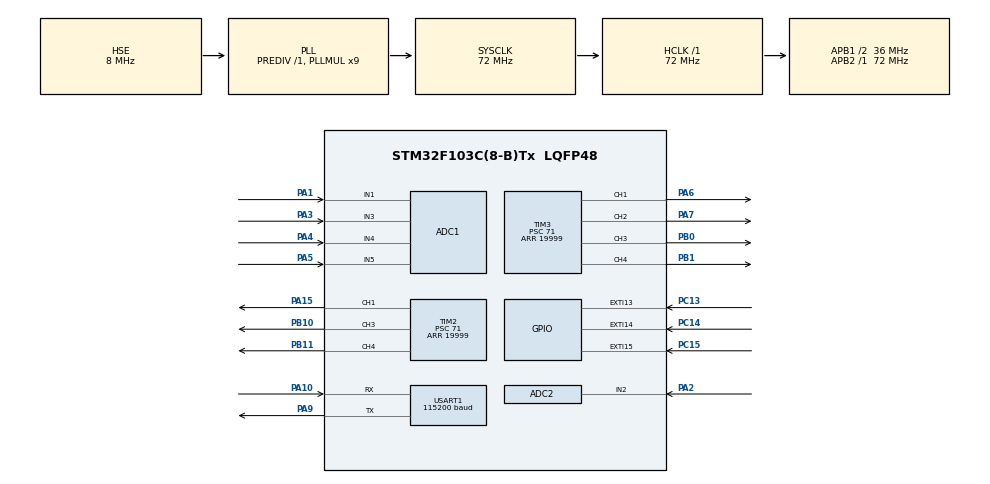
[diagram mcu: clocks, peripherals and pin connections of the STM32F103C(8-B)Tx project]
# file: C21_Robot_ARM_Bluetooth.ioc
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ADC1.Channel-1\#ChannelRegularConversion=ADC_CHANNEL_1
ADC1.Channel-2\#ChannelRegularConversion=ADC_CHANNEL_2
ADC1.Channel-3\#ChannelRegularConversion=ADC_CHANNEL_4
ADC1.Channel-4\#ChannelRegularConversion=ADC_CHANNEL_5
ADC1.ContinuousConvMode=ENABLE
ADC1.NbrOfConversion=4
ADC1.NbrOfConversionFlag=1
ADC1.Rank-1\#ChannelRegularConversion=1
ADC1.Rank-2\#ChannelRegularConversion=2
ADC1.Rank-3\#ChannelRegularConversion=3
ADC1.Rank-4\#ChannelRegularConversion=4
ADC1.SamplingTime-1\#ChannelRegularConversion=ADC_SAMPLETIME_239CYCLES_5
ADC1.SamplingTime-2\#ChannelRegularConversion=ADC_SAMPLETIME_239CYCLES_5
ADC1.SamplingTime-3\#ChannelRegularConversion=ADC_SAMPLETIME_239CYCLES_5
ADC1.SamplingTime-4\#ChannelRegularConversion=ADC_SAMPLETIME_239CYCLES_5
ADC1.master=1
ADC2.Channel-0\#ChannelRegularConversion=ADC_CHANNEL_2
ADC2.NbrOfConversionFlag=1
ADC2.Rank-0\#ChannelRegularConversion=1
ADC2.SamplingTime-0\#ChannelRegularConversion=ADC_SAMPLETIME_1CYCLE_5
Dma.ADC1.0.Direction=DMA_PERIPH_TO_MEMORY
Dma.ADC1.0.Instance=DMA1_Channel1
Dma.ADC1.0.MemDataAlignment=DMA_MDATAALIGN_HALFWORD
Dma.ADC1.0.MemInc=DMA_MINC_ENABLE
Dma.ADC1.0.Mode=DMA_CIRCULAR
Dma.ADC1.0.PeriphDataAlignment=DMA_PDATAALIGN_HALFWORD
Dma.ADC1.0.PeriphInc=DMA_PINC_DISABLE
Dma.ADC1.0.Priority=DMA_PRIORITY_LOW
Dma.Request0=ADC1
Mcu.Family=STM32F1
Mcu.Name=STM32F103C(8-B)Tx
Mcu.Package=LQFP48
NVIC.DMA1_Channel1_IRQn=true\:0\:0\:false\:false\:true\:false\:true
NVIC.EXTI15_10_IRQn=true\:0\:0\:false\:false\:true\:true\:true
NVIC.PriorityGroup=NVIC_PRIORITYGROUP_4
PA1.Signal=ADCx_IN1
PA10.Mode=Asynchronous
PA10.Signal=USART1_RX
PA13.Mode=Serial_Wire
PA13.Signal=SYS_JTMS-SWDIO
PA14.Mode=Serial_Wire
PA14.Signal=SYS_JTCK-SWCLK
PA15.Signal=S_TIM2_CH1_ETR
PA2.Signal=ADCx_IN2
PA3.Signal=ADCx_IN3
PA4.Signal=ADCx_IN4
PA5.Signal=ADCx_IN5
PA6.Signal=S_TIM3_CH1
PA7.Signal=S_TIM3_CH2
PA9.Mode=Asynchronous
PA9.Signal=USART1_TX
PB0.Signal=S_TIM3_CH3
PB1.Signal=S_TIM3_CH4
PB10.Signal=S_TIM2_CH3
PB11.Signal=S_TIM2_CH4
PC13-TAMPER-RTC.GPIO_ModeDefaultEXTI=GPIO_MODE_IT_RISING_FALLING
PC13-TAMPER-RTC.Signal=GPXTI13
PC14-OSC32_IN.GPIO_ModeDefaultEXTI=GPIO_MODE_IT_RISING_FALLING
PC14-OSC32_IN.Signal=GPXTI14
PC15-OSC32_OUT.Signal=GPXTI15
PD0-OSC_IN.Mode=HSE-External-Oscillator
PD0-OSC_IN.Signal=RCC_OSC_IN
PD1-OSC_OUT.Mode=HSE-External-Oscillator
PD1-OSC_OUT.Signal=RCC_OSC_OUT
ProjectManager.HeapSize=0x200
ProjectManager.StackSize=0x400
ProjectManager.TargetToolchain=STM32CubeIDE
RCC.ADCPresc=RCC_ADCPCLK2_DIV8
RCC.AHBFreq_Value=72000000
RCC.APB1CLKDivider=RCC_HCLK_DIV2
RCC.APB1Freq_Value=36000000
RCC.APB1TimFreq_Value=72000000
RCC.APB2Freq_Value=72000000
RCC.APB2TimFreq_Value=72000000
RCC.HCLKFreq_Value=72000000
RCC.PLLMUL=RCC_PLL_MUL9
RCC.PLLSourceVirtual=RCC_PLLSOURCE_HSE
RCC.SYSCLKFreq_VALUE=72000000
RCC.SYSCLKSource=RCC_SYSCLKSOURCE_PLLCLK
RCC.USBFreq_Value=48000000
RCC.USBPrescaler=RCC_USBCLKSOURCE_PLL_DIV1_5
SH.ADCx_IN1.0=ADC1_IN1,IN1
SH.ADCx_IN2.0=ADC2_IN2,IN2
SH.ADCx_IN2.1=ADC1_IN2,IN2
SH.ADCx_IN3.0=ADC1_IN3,IN3
SH.ADCx_IN4.0=ADC1_IN4,IN4
SH.ADCx_IN5.0=ADC1_IN5,IN5
SH.S_TIM2_CH1_ETR.0=TIM2_CH1,PWM Generation1 CH1
SH.S_TIM2_CH3.0=TIM2_CH3,PWM Generation3 CH3
SH.S_TIM2_CH4.0=TIM2_CH4,PWM Generation4 CH4
SH.S_TIM3_CH1.0=TIM3_CH1,PWM Generation1 CH1
SH.S_TIM3_CH2.0=TIM3_CH2,PWM Generation2 CH2
SH.S_TIM3_CH3.0=TIM3_CH3,PWM Generation3 CH3
SH.S_TIM3_CH4.0=TIM3_CH4,PWM Generation4 CH4
TIM1.Period=2000
TIM1.Prescaler=71
TIM2.Channel-PWM\ Generation1\ CH1=TIM_CHANNEL_1
TIM2.Channel-PWM\ Generation3\ CH3=TIM_CHANNEL_3
TIM2.Channel-PWM\ Generation4\ CH4=TIM_CHANNEL_4
TIM2.Period=19999
TIM2.Prescaler=71
TIM3.Channel-PWM\ Generation1\ CH1=TIM_CHANNEL_1
TIM3.Channel-PWM\ Generation2\ CH2=TIM_CHANNEL_2
TIM3.Channel-PWM\ Generation3\ CH3=TIM_CHANNEL_3
TIM3.Channel-PWM\ Generation4\ CH4=TIM_CHANNEL_4
TIM3.Period=19999
TIM3.Prescaler=71
TIM3.Pulse-PWM\ Generation3\ CH3=1000
TIM4.Period=5000
TIM4.Prescaler=71
USART1.BaudRate=115200
USART1.VirtualMode=VM_ASYNC
USART1.WordLength=WORDLENGTH_8B
VP_TIM1_VS_ClockSourceINT.Mode=Internal
VP_TIM2_VS_ClockSourceINT.Mode=Internal
VP_TIM3_VS_ClockSourceINT.Mode=Internal
VP_TIM4_VS_ClockSourceINT.Mode=Internal
board=custom

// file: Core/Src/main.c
/* USER CODE BEGIN Header */
/**
  ******************************************************************************
  * @file           : main.c
  * @brief          : Main program body
  ******************************************************************************
  * @attention
  *
  * <h2><center>&copy; Copyright (c) 2020 STMicroelectronics.
  * All rights reserved.</center></h2>
  *
  * This software component is licensed by ST under Ultimate Liberty license
  * SLA0044, the "License"; You may not use this file except in compliance with
  * the License. You may obtain a copy of the License at:
  *                             www.st.com/SLA0044
  *
  ******************************************************************************
  */
/* USER CODE END Header */
#include "main.h"

ADC_HandleTypeDef hadc1;
ADC_HandleTypeDef hadc2;
DMA_HandleTypeDef hdma_adc1;

TIM_HandleTypeDef htim1;
TIM_HandleTypeDef htim2;
TIM_HandleTypeDef htim3;
TIM_HandleTypeDef htim4;

UART_HandleTypeDef huart1;

/* USER CODE BEGIN PV */
uint8_t button_state = 0;
/* USER CODE END PV */

void SystemClock_Config(void);
static void MX_GPIO_Init(void);
static void MX_DMA_Init(void);
static void MX_TIM3_Init(void);
static void MX_TIM2_Init(void);
static void MX_TIM1_Init(void);
static void MX_ADC1_Init(void);
static void MX_ADC2_Init(void);
static void MX_TIM4_Init(void);
static void MX_USART1_UART_Init(void);

/* USER CODE BEGIN 0 */
uint16_t a[6];
float temp[6];
uint8_t buf[12];
uint16_t value,value1, value2;
int count = 0;

uint8_t pin_selected = 0;
uint8_t calib1,calib2;
/* USER CODE END 0 */

int main(void)
{

  /* MCU Configuration--------------------------------------------------------*/

  /* Reset of all peripherals, Initializes the Flash interface and the Systick. */
  HAL_Init();

  /* Configure the system clock */
  SystemClock_Config();

  /* Initialize all configured peripherals */
  MX_GPIO_Init();
  MX_DMA_Init();
  MX_TIM3_Init();
  MX_TIM2_Init();
  MX_TIM1_Init();
  MX_ADC1_Init();
  MX_ADC2_Init();
  MX_TIM4_Init();
  MX_USART1_UART_Init();
  /* USER CODE BEGIN 2 */
  HAL_ADC_Start_DMA(&hadc1,a,4);
    float temp1,temp2;
    for(int i = 0 ; i < 100; i++){
        temp1 += floor(a[0]/4096.0*255);
        temp2 += floor(a[1]/4096.0*255);
        HAL_Delay(2);
    }
    temp1/=100;
    temp2/=100;

    calib1 = (uint8_t) temp1;
    calib2 = (uint8_t) temp2;

  /* USER CODE END 2 */

  /* Infinite loop */
  while (1)
  {

    /* USER CODE BEGIN 3 */
     char data[6] = "00000\n";
	  if(a[0] < 1000){

		  data[0] = 'f';
	  }

	  if(a[0] > 3000){

		  data[0] = 'b';
	 	  }

	  if(a[1] < 1000){

		  data[1] = 'f';

		  }

		  if(a[1] > 3000){
			  data[1] = 'b';
		 }

		  if(a[3] < 1000){
			  data[3] = 'f';
				  }

				  if(a[3] > 3000){
					  data[3] = 'b';

		 	  }

				  if(a[2] < 1000){

					  data[2] = 'f';

						  }

						  if(a[2] > 3000){

							  data[2] = 'b';
				 	  }
						  if(button_state == 1){

									    data[4] = 'f';
						  }
						  if(button_state == 2){

										    data[4] = 'b';
							  }
						  HAL_UART_Transmit(&huart1,(uint8_t*)data, 6,1000);

               HAL_Delay(100);
  }
  /* USER CODE END 3 */
}

void SystemClock_Config(void)
{
  RCC_OscInitTypeDef RCC_OscInitStruct = {0};
  RCC_ClkInitTypeDef RCC_ClkInitStruct = {0};
  RCC_PeriphCLKInitTypeDef PeriphClkInit = {0};

  /** Initializes the RCC Oscillators according to the specified parameters
  * in the RCC_OscInitTypeDef structure.
  */
  RCC_OscInitStruct.OscillatorType = RCC_OSCILLATORTYPE_HSE;
  RCC_OscInitStruct.HSEState = RCC_HSE_ON;
  RCC_OscInitStruct.HSEPredivValue = RCC_HSE_PREDIV_DIV1;
  RCC_OscInitStruct.HSIState = RCC_HSI_ON;
  RCC_OscInitStruct.PLL.PLLState = RCC_PLL_ON;
  RCC_OscInitStruct.PLL.PLLSource = RCC_PLLSOURCE_HSE;
  RCC_OscInitStruct.PLL.PLLMUL = RCC_PLL_MUL9;
  if (HAL_RCC_OscConfig(&RCC_OscInitStruct) != HAL_OK)
  {
    Error_Handler();
  }
  /** Initializes the CPU, AHB and APB buses clocks
  */
  RCC_ClkInitStruct.ClockType = RCC_CLOCKTYPE_HCLK|RCC_CLOCKTYPE_SYSCLK
                              |RCC_CLOCKTYPE_PCLK1|RCC_CLOCKTYPE_PCLK2;
  RCC_ClkInitStruct.SYSCLKSource = RCC_SYSCLKSOURCE_PLLCLK;
  RCC_ClkInitStruct.AHBCLKDivider = RCC_SYSCLK_DIV1;
  RCC_ClkInitStruct.APB1CLKDivider = RCC_HCLK_DIV2;
  RCC_ClkInitStruct.APB2CLKDivider = RCC_HCLK_DIV1;

  if (HAL_RCC_ClockConfig(&RCC_ClkInitStruct, FLASH_LATENCY_2) != HAL_OK)
  {
    Error_Handler();
  }
  PeriphClkInit.PeriphClockSelection = RCC_PERIPHCLK_ADC;
  PeriphClkInit.AdcClockSelection = RCC_ADCPCLK2_DIV8;
  if (HAL_RCCEx_PeriphCLKConfig(&PeriphClkInit) != HAL_OK)
  {
    Error_Handler();
  }
}

static void MX_ADC1_Init(void)
{

  ADC_ChannelConfTypeDef sConfig = {0};

  /** Common config
  */
  hadc1.Instance = ADC1;
  hadc1.Init.ScanConvMode = ADC_SCAN_ENABLE;
  hadc1.Init.ContinuousConvMode = ENABLE;
  hadc1.Init.DiscontinuousConvMode = DISABLE;
  hadc1.Init.ExternalTrigConv = ADC_SOFTWARE_START;
  hadc1.Init.DataAlign = ADC_DATAALIGN_RIGHT;
  hadc1.Init.NbrOfConversion = 4;
  if (HAL_ADC_Init(&hadc1) != HAL_OK)
  {
    Error_Handler();
  }
  /** Configure Regular Channel
  */
  sConfig.Channel = ADC_CHANNEL_1;
  sConfig.Rank = ADC_REGULAR_RANK_1;
  sConfig.SamplingTime = ADC_SAMPLETIME_239CYCLES_5;
  if (HAL_ADC_ConfigChannel(&hadc1, &sConfig) != HAL_OK)
  {
    Error_Handler();
  }
  /** Configure Regular Channel
  */
  sConfig.Channel = ADC_CHANNEL_2;
  sConfig.Rank = ADC_REGULAR_RANK_2;
  if (HAL_ADC_ConfigChannel(&hadc1, &sConfig) != HAL_OK)
  {
    Error_Handler();
  }
  /** Configure Regular Channel
  */
  sConfig.Channel = ADC_CHANNEL_4;
  sConfig.Rank = ADC_REGULAR_RANK_3;
  if (HAL_ADC_ConfigChannel(&hadc1, &sConfig) != HAL_OK)
  {
    Error_Handler();
  }
  /** Configure Regular Channel
  */
  sConfig.Channel = ADC_CHANNEL_5;
  sConfig.Rank = ADC_REGULAR_RANK_4;
  if (HAL_ADC_ConfigChannel(&hadc1, &sConfig) != HAL_OK)
  {
    Error_Handler();
  }

}

static void MX_ADC2_Init(void)
{

  ADC_ChannelConfTypeDef sConfig = {0};

  /** Common config
  */
  hadc2.Instance = ADC2;
  hadc2.Init.ScanConvMode = ADC_SCAN_DISABLE;
  hadc2.Init.ContinuousConvMode = DISABLE;
  hadc2.Init.DiscontinuousConvMode = DISABLE;
  hadc2.Init.ExternalTrigConv = ADC_SOFTWARE_START;
  hadc2.Init.DataAlign = ADC_DATAALIGN_RIGHT;
  hadc2.Init.NbrOfConversion = 1;
  if (HAL_ADC_Init(&hadc2) != HAL_OK)
  {
    Error_Handler();
  }
  /** Configure Regular Channel
  */
  sConfig.Channel = ADC_CHANNEL_2;
  sConfig.Rank = ADC_REGULAR_RANK_1;
  sConfig.SamplingTime = ADC_SAMPLETIME_1CYCLE_5;
  if (HAL_ADC_ConfigChannel(&hadc2, &sConfig) != HAL_OK)
  {
    Error_Handler();
  }

}

static void MX_TIM1_Init(void)
{

  TIM_ClockConfigTypeDef sClockSourceConfig = {0};
  TIM_MasterConfigTypeDef sMasterConfig = {0};

  htim1.Instance = TIM1;
  htim1.Init.Prescaler = 71;
  htim1.Init.CounterMode = TIM_COUNTERMODE_UP;
  htim1.Init.Period = 2000;
  htim1.Init.ClockDivision = TIM_CLOCKDIVISION_DIV1;
  htim1.Init.RepetitionCounter = 0;
  htim1.Init.AutoReloadPreload = TIM_AUTORELOAD_PRELOAD_DISABLE;
  if (HAL_TIM_Base_Init(&htim1) != HAL_OK)
  {
    Error_Handler();
  }
  sClockSourceConfig.ClockSource = TIM_CLOCKSOURCE_INTERNAL;
  if (HAL_TIM_ConfigClockSource(&htim1, &sClockSourceConfig) != HAL_OK)
  {
    Error_Handler();
  }
  sMasterConfig.MasterOutputTrigger = TIM_TRGO_RESET;
  sMasterConfig.MasterSlaveMode = TIM_MASTERSLAVEMODE_DISABLE;
  if (HAL_TIMEx_MasterConfigSynchronization(&htim1, &sMasterConfig) != HAL_OK)
  {
    Error_Handler();
  }

}

static void MX_TIM2_Init(void)
{

  TIM_ClockConfigTypeDef sClockSourceConfig = {0};
  TIM_MasterConfigTypeDef sMasterConfig = {0};
  TIM_OC_InitTypeDef sConfigOC = {0};

  htim2.Instance = TIM2;
  htim2.Init.Prescaler = 71;
  htim2.Init.CounterMode = TIM_COUNTERMODE_UP;
  htim2.Init.Period = 19999;
  htim2.Init.ClockDivision = TIM_CLOCKDIVISION_DIV1;
  htim2.Init.AutoReloadPreload = TIM_AUTORELOAD_PRELOAD_DISABLE;
  if (HAL_TIM_Base_Init(&htim2) != HAL_OK)
  {
    Error_Handler();
  }
  sClockSourceConfig.ClockSource = TIM_CLOCKSOURCE_INTERNAL;
  if (HAL_TIM_ConfigClockSource(&htim2, &sClockSourceConfig) != HAL_OK)
  {
    Error_Handler();
  }
  if (HAL_TIM_PWM_Init(&htim2) != HAL_OK)
  {
    Error_Handler();
  }
  sMasterConfig.MasterOutputTrigger = TIM_TRGO_RESET;
  sMasterConfig.MasterSlaveMode = TIM_MASTERSLAVEMODE_DISABLE;
  if (HAL_TIMEx_MasterConfigSynchronization(&htim2, &sMasterConfig) != HAL_OK)
  {
    Error_Handler();
  }
  sConfigOC.OCMode = TIM_OCMODE_PWM1;
  sConfigOC.Pulse = 0;
  sConfigOC.OCPolarity = TIM_OCPOLARITY_HIGH;
  sConfigOC.OCFastMode = TIM_OCFAST_DISABLE;
  if (HAL_TIM_PWM_ConfigChannel(&htim2, &sConfigOC, TIM_CHANNEL_1) != HAL_OK)
  {
    Error_Handler();
  }
  if (HAL_TIM_PWM_ConfigChannel(&htim2, &sConfigOC, TIM_CHANNEL_3) != HAL_OK)
  {
    Error_Handler();
  }
  if (HAL_TIM_PWM_ConfigChannel(&htim2, &sConfigOC, TIM_CHANNEL_4) != HAL_OK)
  {
    Error_Handler();
  }
  HAL_TIM_MspPostInit(&htim2);

}

static void MX_TIM3_Init(void)
{

  TIM_ClockConfigTypeDef sClockSourceConfig = {0};
  TIM_MasterConfigTypeDef sMasterConfig = {0};
  TIM_OC_InitTypeDef sConfigOC = {0};

  htim3.Instance = TIM3;
  htim3.Init.Prescaler = 71;
  htim3.Init.CounterMode = TIM_COUNTERMODE_UP;
  htim3.Init.Period = 19999;
  htim3.Init.ClockDivision = TIM_CLOCKDIVISION_DIV1;
  htim3.Init.AutoReloadPreload = TIM_AUTORELOAD_PRELOAD_DISABLE;
  if (HAL_TIM_Base_Init(&htim3) != HAL_OK)
  {
    Error_Handler();
  }
  sClockSourceConfig.ClockSource = TIM_CLOCKSOURCE_INTERNAL;
  if (HAL_TIM_ConfigClockSource(&htim3, &sClockSourceConfig) != HAL_OK)
  {
    Error_Handler();
  }
  if (HAL_TIM_PWM_Init(&htim3) != HAL_OK)
  {
    Error_Handler();
  }
  sMasterConfig.MasterOutputTrigger = TIM_TRGO_RESET;
  sMasterConfig.MasterSlaveMode = TIM_MASTERSLAVEMODE_DISABLE;
  if (HAL_TIMEx_MasterConfigSynchronization(&htim3, &sMasterConfig) != HAL_OK)
  {
    Error_Handler();
  }
  sConfigOC.OCMode = TIM_OCMODE_PWM1;
  sConfigOC.Pulse = 0;
  sConfigOC.OCPolarity = TIM_OCPOLARITY_HIGH;
  sConfigOC.OCFastMode = TIM_OCFAST_DISABLE;
  if (HAL_TIM_PWM_ConfigChannel(&htim3, &sConfigOC, TIM_CHANNEL_1) != HAL_OK)
  {
    Error_Handler();
  }
  if (HAL_TIM_PWM_ConfigChannel(&htim3, &sConfigOC, TIM_CHANNEL_2) != HAL_OK)
  {
    Error_Handler();
  }
  sConfigOC.Pulse = 1000;
  if (HAL_TIM_PWM_ConfigChannel(&htim3, &sConfigOC, TIM_CHANNEL_3) != HAL_OK)
  {
    Error_Handler();
  }
  sConfigOC.Pulse = 0;
  if (HAL_TIM_PWM_ConfigChannel(&htim3, &sConfigOC, TIM_CHANNEL_4) != HAL_OK)
  {
    Error_Handler();
  }
  HAL_TIM_MspPostInit(&htim3);

}

static void MX_TIM4_Init(void)
{

  TIM_ClockConfigTypeDef sClockSourceConfig = {0};
  TIM_MasterConfigTypeDef sMasterConfig = {0};

  htim4.Instance = TIM4;
  htim4.Init.Prescaler = 71;
  htim4.Init.CounterMode = TIM_COUNTERMODE_UP;
  htim4.Init.Period = 5000;
  htim4.Init.ClockDivision = TIM_CLOCKDIVISION_DIV1;
  htim4.Init.AutoReloadPreload = TIM_AUTORELOAD_PRELOAD_DISABLE;
  if (HAL_TIM_Base_Init(&htim4) != HAL_OK)
  {
    Error_Handler();
  }
  sClockSourceConfig.ClockSource = TIM_CLOCKSOURCE_INTERNAL;
  if (HAL_TIM_ConfigClockSource(&htim4, &sClockSourceConfig) != HAL_OK)
  {
    Error_Handler();
  }
  sMasterConfig.MasterOutputTrigger = TIM_TRGO_RESET;
  sMasterConfig.MasterSlaveMode = TIM_MASTERSLAVEMODE_DISABLE;
  if (HAL_TIMEx_MasterConfigSynchronization(&htim4, &sMasterConfig) != HAL_OK)
  {
    Error_Handler();
  }

}

static void MX_USART1_UART_Init(void)
{

  huart1.Instance = USART1;
  huart1.Init.BaudRate = 115200;
  huart1.Init.WordLength = UART_WORDLENGTH_8B;
  huart1.Init.StopBits = UART_STOPBITS_1;
  huart1.Init.Parity = UART_PARITY_NONE;
  huart1.Init.Mode = UART_MODE_TX_RX;
  huart1.Init.HwFlowCtl = UART_HWCONTROL_NONE;
  huart1.Init.OverSampling = UART_OVERSAMPLING_16;
  if (HAL_UART_Init(&huart1) != HAL_OK)
  {
    Error_Handler();
  }

}

static void MX_DMA_Init(void)
{

  /* DMA controller clock enable */
  __HAL_RCC_DMA1_CLK_ENABLE();

  /* DMA interrupt init */
  /* DMA1_Channel1_IRQn interrupt configuration */
  HAL_NVIC_SetPriority(DMA1_Channel1_IRQn, 0, 0);
  HAL_NVIC_EnableIRQ(DMA1_Channel1_IRQn);

}

static void MX_GPIO_Init(void)
{
  GPIO_InitTypeDef GPIO_InitStruct = {0};

  /* GPIO Ports Clock Enable */
  __HAL_RCC_GPIOC_CLK_ENABLE();
  __HAL_RCC_GPIOD_CLK_ENABLE();
  __HAL_RCC_GPIOA_CLK_ENABLE();
  __HAL_RCC_GPIOB_CLK_ENABLE();

  /*Configure GPIO pins : PC13 PC14 */
  GPIO_InitStruct.Pin = GPIO_PIN_13|GPIO_PIN_14;
  GPIO_InitStruct.Mode = GPIO_MODE_IT_RISING_FALLING;
  GPIO_InitStruct.Pull = GPIO_NOPULL;
  HAL_GPIO_Init(GPIOC, &GPIO_InitStruct);

  /*Configure GPIO pin : PC15 */
  GPIO_InitStruct.Pin = GPIO_PIN_15;
  GPIO_InitStruct.Mode = GPIO_MODE_IT_RISING;
  GPIO_InitStruct.Pull = GPIO_NOPULL;
  HAL_GPIO_Init(GPIOC, &GPIO_InitStruct);

  /* EXTI interrupt init*/
  HAL_NVIC_SetPriority(EXTI15_10_IRQn, 0, 0);
  HAL_NVIC_EnableIRQ(EXTI15_10_IRQn);

}

void Error_Handler(void)
{
}

/************************ (C) COPYRIGHT STMicroelectronics *****END OF FILE****/
